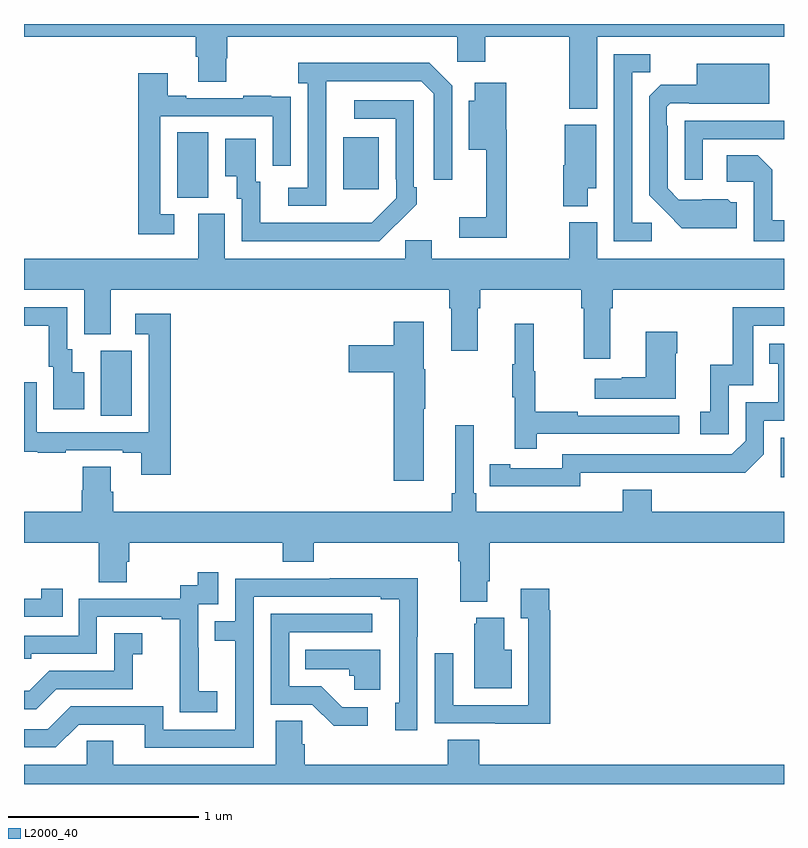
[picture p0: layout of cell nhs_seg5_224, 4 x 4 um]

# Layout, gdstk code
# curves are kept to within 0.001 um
import gdstk
lib = gdstk.Library(unit=1e-6, precision=1e-09)
def R(c, l, rs):  # rectangles x0, y0, x1, y1
    for r in rs: c.add(gdstk.rectangle(r[:2], r[2:], *l))
def P(c, l, *ps):  # polygons
    for p in ps: c.add(gdstk.Polygon(p, *l))
L2000_40 = (2000, 40)

nhs_seg5_224 = lib.new_cell('nhs_seg5_224')
R(nhs_seg5_224, L2000_40, [(126.984,882.414,127,882.621), (123.404,882.736,123.568,883.08), (123.806,883.885,123.97,884.228), (124.679,883.929,124.867,884.203)])
P(nhs_seg5_224, L2000_40, [(126.016,884.732),(127,884.732),(127,884.799),(123,884.799),(123,884.732),(123.905,884.732),(123.905,884.626),(123.917,884.626),(123.917,884.494),(124.065,884.494),(124.065,884.619),(124.07,884.619),(124.07,884.732),(125.28,884.732),(125.28,884.601),(125.427,884.601),(125.427,884.732),(125.869,884.732),(125.869,884.354),(126.016,884.354)],
  [(126.304,883.752),(126.201,883.752),(126.201,884.545),(126.297,884.545),(126.297,884.64),(126.105,884.64),(126.105,883.656),(126.304,883.656)],
  [(124.59,884.299),(124.591,884.499),(125.091,884.499),(125.157,884.433),(125.157,883.98),(125.253,883.98),(125.253,884.475),(125.132,884.596),(124.443,884.596),(124.443,884.486),(124.494,884.486),(124.494,883.938),(124.392,883.938),(124.392,883.842),(124.59,883.842)],
  [(126.751,883.86),(126.72,883.86),(126.704,883.876),(126.447,883.875),(126.387,883.935),(126.387,884.264),(126.384,884.264),(126.384,884.364),(126.402,884.382),(126.502,884.382),(126.502,884.378),(126.922,884.378),(126.922,884.59),(126.542,884.59),(126.542,884.479),(126.35,884.479),(126.291,884.42),(126.291,883.898),(126.463,883.724),(126.751,883.724)],
  [(123.79,883.797),(123.717,883.797),(123.717,884.313),(124.308,884.313),(124.308,884.052),(124.404,884.052),(124.404,884.306),(124.403,884.306),(124.403,884.415),(124.301,884.415),(124.301,884.422),(124.153,884.422),(124.153,884.409),(123.853,884.409),(123.853,884.422),(123.757,884.422),(123.757,884.539),(123.601,884.539),(123.601,883.692),(123.79,883.692)],
  [(125.542,884.242),(125.538,884.242),(125.538,884.491),(125.372,884.491),(125.372,884.395),(125.342,884.395),(125.342,884.138),(125.432,884.138),(125.432,883.783),(125.292,883.783),(125.292,883.674),(125.542,883.674)],
  [(124.961,883.747),(124.962,883.746),(125.067,883.851),(125.067,883.939),(125.052,883.939),(125.052,884.397),(124.737,884.397),(124.737,884.301),(124.956,884.301),(124.956,883.981),(124.959,883.981),(124.959,883.881),(124.831,883.753),(124.243,883.752),(124.243,883.968),(124.219,883.968),(124.219,884.194),(124.058,884.194),(124.058,883.997),(124.121,883.997),(124.121,883.878),(124.146,883.878),(124.146,883.656),(124.87,883.656)],
  [(126.573,884.193),(127,884.193),(127,884.289),(126.477,884.289),(126.477,883.98),(126.573,883.98)],
  [(125.968,883.934),(126.013,883.934),(126.013,884.269),(125.846,884.269),(125.846,884.055),(125.839,884.055),(125.839,883.841),(125.968,883.841)],
  [(127,883.765),(126.939,883.765),(126.939,884.032),(126.863,884.108),(126.699,884.108),(126.699,883.968),(126.84,883.968),(126.84,883.656),(127,883.656)],
  [(126.085,883.304),(126.098,883.304),(126.098,883.4),(127,883.4),(127,883.564),(126.016,883.564),(126.016,883.756),(125.869,883.756),(125.869,883.564),(125.146,883.564),(125.146,883.662),(125.007,883.662),(125.007,883.564),(124.057,883.564),(124.057,883.8),(123.917,883.8),(123.917,883.564),(123,883.564),(123,883.4),(123.317,883.4),(123.317,883.165),(123.457,883.165),(123.457,883.4),(125.237,883.4),(125.237,883.304),(125.249,883.304),(125.249,883.08),(125.389,883.08),(125.389,883.304),(125.402,883.304),(125.402,883.4),(125.933,883.4),(125.933,883.304),(125.945,883.304),(125.945,883.038),(126.085,883.038)],
  [(126.708,882.897),(126.837,882.897),(126.837,883.212),(127,883.212),(127,883.308),(126.729,883.308),(126.729,883.006),(126.611,883.006),(126.611,882.759),(126.558,882.759),(126.558,882.639),(126.708,882.639)],
  [(123.316,882.967),(123.253,882.967),(123.253,883.086),(123.228,883.086),(123.228,883.308),(123,883.308),(123,883.212),(123.131,883.212),(123.131,882.996),(123.155,882.996),(123.155,882.771),(123.316,882.771)],
  [(123.773,883.273),(123.585,883.273),(123.585,883.167),(123.657,883.167),(123.657,882.651),(123.066,882.651),(123.066,882.913),(123,882.913),(123,882.549),(123.073,882.549),(123.073,882.543),(123.221,882.543),(123.221,882.555),(123.521,882.555),(123.521,882.543),(123.617,882.543),(123.617,882.426),(123.773,882.426)],
  [(125.104,882.775),(125.112,882.775),(125.112,882.981),(125.104,882.981),(125.104,883.231),(124.946,883.231),(124.946,883.107),(124.71,883.107),(124.71,882.965),(124.946,882.965),(124.946,882.396),(125.104,882.396)],
  [(125.699,882.642),(126.448,882.642),(126.448,882.738),(125.915,882.738),(125.915,882.758),(125.692,882.758),(125.692,882.972),(125.684,882.972),(125.684,883.222),(125.582,883.222),(125.582,883.009),(125.571,883.009),(125.571,882.835),(125.582,882.835),(125.582,882.564),(125.699,882.564)],
  [(126.43,883.067),(126.438,883.067),(126.438,883.18),(126.272,883.18),(126.272,882.941),(126.146,882.941),(126.146,882.931),(126.003,882.931),(126.003,882.827),(126.43,882.827)],
  [(125.928,882.438),(126.796,882.437),(126.894,882.534),(126.894,882.711),(127,882.711),(127,883.117),(126.922,883.117),(126.922,883.011),(126.971,883.011),(126.971,882.807),(126.798,882.807),(126.798,882.606),(126.726,882.534),(125.832,882.534),(125.832,882.462),(125.56,882.462),(125.56,882.482),(125.452,882.482),(125.452,882.366),(125.928,882.365)],
  [(125.437,881.866),(125.45,881.866),(125.45,882.068),(127,882.068),(127,882.232),(126.305,882.232),(126.305,882.349),(126.152,882.349),(126.152,882.232),(125.381,882.232),(125.381,882.328),(125.367,882.328),(125.367,882.688),(125.27,882.688),(125.27,882.328),(125.251,882.328),(125.251,882.232),(123.47,882.232),(123.47,882.338),(123.457,882.338),(123.457,882.47),(123.31,882.47),(123.31,882.345),(123.305,882.345),(123.305,882.232),(123,882.232),(123,882.068),(123.394,882.068),(123.394,881.86),(123.541,881.86),(123.541,881.97),(123.554,881.97),(123.554,882.068),(124.361,882.068),(124.361,881.969),(124.526,881.969),(124.526,882.068),(125.285,882.068),(125.285,881.972),(125.297,881.972),(125.297,881.759),(125.437,881.759)],
  [(124.018,881.287),(123.92,881.287),(123.92,881.516),(123.918,881.516),(123.918,881.745),(124.023,881.745),(124.023,881.914),(123.915,881.914),(123.915,881.844),(123.822,881.844),(123.822,881.775),(123.288,881.775),(123.288,881.58),(123,881.58),(123,881.457),(123.039,881.457),(123.039,881.484),(123.384,881.484),(123.384,881.679),(123.725,881.679),(123.725,881.667),(123.821,881.667),(123.821,881.383),(123.82,881.383),(123.82,881.177),(124.018,881.177)],
  [(124.209,881.784),(124.877,881.784),(124.877,881.772),(124.974,881.772),(124.974,881.226),(124.955,881.226),(124.955,881.082),(125.07,881.082),(125.07,881.575),(125.073,881.575),(125.073,881.882),(124.609,881.882),(124.609,881.88),(124.113,881.88),(124.113,881.655),(124.003,881.655),(124.003,881.554),(124.113,881.554),(124.113,881.085),(123.732,881.085),(123.732,881.208),(123.246,881.208),(123.126,881.088),(123,881.088),(123,880.992),(123.168,880.992),(123.288,881.112),(123.635,881.112),(123.635,880.989),(124.209,880.989)],
  [(125.771,881.714),(125.764,881.714),(125.764,881.827),(125.615,881.827),(125.615,881.671),(125.655,881.671),(125.655,881.214),(125.259,881.214),(125.259,881.488),(125.163,881.488),(125.163,881.118),(125.479,881.118),(125.479,881.117),(125.771,881.117)],
  [(123.203,881.827),(123.092,881.827),(123.092,881.775),(123,881.775),(123,881.679),(123.203,881.679)],
  [(124.81,881.202),(124.675,881.202),(124.564,881.313),(124.395,881.313),(124.395,881.598),(124.834,881.598),(124.834,881.694),(124.299,881.694),(124.299,881.217),(124.518,881.217),(124.631,881.105),(124.81,881.105)],
  [(125.566,881.506),(125.527,881.506),(125.527,881.674),(125.381,881.674),(125.381,881.643),(125.369,881.643),(125.369,881.303),(125.566,881.303)],
  [(123.169,881.298),(123.573,881.298),(123.573,881.483),(123.622,881.483),(123.622,881.593),(123.474,881.593),(123.474,881.394),(123.132,881.394),(123.028,881.29),(123,881.29),(123,881.193),(123.064,881.193)],
  [(124.876,881.506),(124.48,881.506),(124.48,881.402),(124.711,881.402),(124.711,881.37),(124.737,881.37),(124.737,881.294),(124.876,881.294)],
  [(127,880.9),(125.396,880.9),(125.396,881.033),(125.231,881.033),(125.231,880.9),(124.478,880.9),(124.478,881.009),(124.464,881.009),(124.464,881.132),(124.325,881.132),(124.325,880.9),(123.469,880.9),(123.469,881.027),(123.33,881.027),(123.33,880.9),(123,880.9),(123,880.799),(127,880.799)])

lib.write_gds('nhs_seg5_224.gds')
